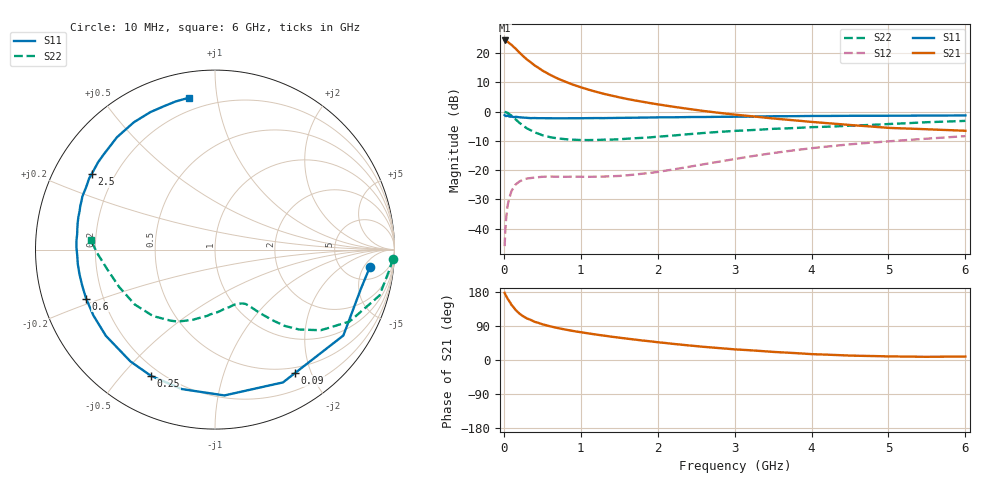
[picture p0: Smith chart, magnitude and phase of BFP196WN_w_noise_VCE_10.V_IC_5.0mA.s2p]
! Infineon Technologies  Discrete & RF Semiconductors
! BFP196WN
! VCE =  10. V,  IC =  5.0 mA
! Common Emitter S-Parameters:  Jan 2017
# GHz  S  MA  R  50
!  f  S11  S21  S12  S22
! GHz  MAG  ANG  MAG  ANG  MAG  ANG  MAG  ANG
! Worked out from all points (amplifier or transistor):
!   77 points, 10 MHz to 6 GHz, reference 50 ohm
!   highest |S21| = 24.3 dB at 10 MHz (marker M1)
!   |S21| within 3 dB of that: start of sweep to 160.3 MHz
!   unconditionally stable (mu >= 1): 1.355 GHz to 2.616 GHz
!   at 130 MHz: K = 0.11, MSG = 23.9 dB, |S12| = -25.8 dB
!   at 2.2 GHz: K = 1.10, MAG = 8.8 dB, |S12| = -19.8 dB
!   at 6 GHz: K = 0.89, MSG = 0.9 dB, |S12| = -8.4 dB
!   lowest NFmin = 1.08 dB at 450 MHz
!   S11 on the Smith chart (normalised r, x): 10 MHz: 9, -7; 90 MHz: 0.42, -1.76; 250 MHz: 0.16, -0.60; 600 MHz: 0.14, -0.18; 2.5 GHz: 0.12, +0.28; 6 GHz: 0.13, +0.83
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0.01  0.8691 -6.3  16.41 177.2  0.005 86.0  0.9919 -3.0
0.02  0.8419 -14.9  15.84 172.4  0.0098 85.4  0.9797 -6.3
0.05  0.8606 -33.8  15.64 161.4  0.0251 72.8  0.9516 -15.6
0.09  0.8196 -57.0  14.09 148.8  0.0401 60.2  0.8663 -25.5
0.1  0.8312 -62.9  13.83 145.3  0.044 58.4  0.8494 -28.2
0.15  0.8141 -86.3  12 132.7  0.0561 47.9  0.7412 -37.3
0.2  0.7988 -103.4  10.27 123.0  0.0634 40.6  0.6469 -43.5
0.25  0.7886 -116.9  8.886 115.5  0.0686 35.7  0.5755 -47.6
0.3  0.7812 -127.1  7.764 109.7  0.0716 31.3  0.516 -50.4
0.4  0.7749 -141.7  6.15 100.8  0.0746 26.9  0.4416 -54.2
0.5  0.7705 -151.6  5.039 94.4  0.0767 24.8  0.3944 -56.9
0.6  0.7683 -159.2  4.254 89.0  0.0775 23.7  0.3656 -58.8
0.7  0.7665 -165.0  3.671 84.4  0.0769 23.2  0.3471 -60.7
0.8  0.7674 -169.9  3.234 80.3  0.0767 24.4  0.3372 -62.9
1.1  0.7722 179.1  2.369 70.2  0.0766 28.2  0.3254 -70.5
1.5  0.7797 168.8  1.751 58.9  0.0793 38.0  0.336 -82.1
2.1  0.7964 156.1  1.269 44.9  0.0975 53.7  0.3799 -99.7
2.5  0.8061 148.6  1.065 36.7  0.1194 60.2  0.4198 -110.3
3.1  0.8172 138.0  0.861 26.9  0.1622 63.2  0.4735 -124.4
4.1  0.8412 121.0  0.65 14.8  0.244 58.4  0.5454 -148.3
5.1  0.8488 108.6  0.52 9.3  0.3163 49.2  0.6198 -171.8
6  0.8585 99.8  0.469 9.2  0.3801 41.0  0.6926 175.7
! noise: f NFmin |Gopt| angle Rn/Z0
0.45  1.08  0.44  121  0.07
0.9  1.21  0.58  158  0.06
1.9  2.72  0.75  203  0.15
2.4  3.62  0.76  211  0.29
